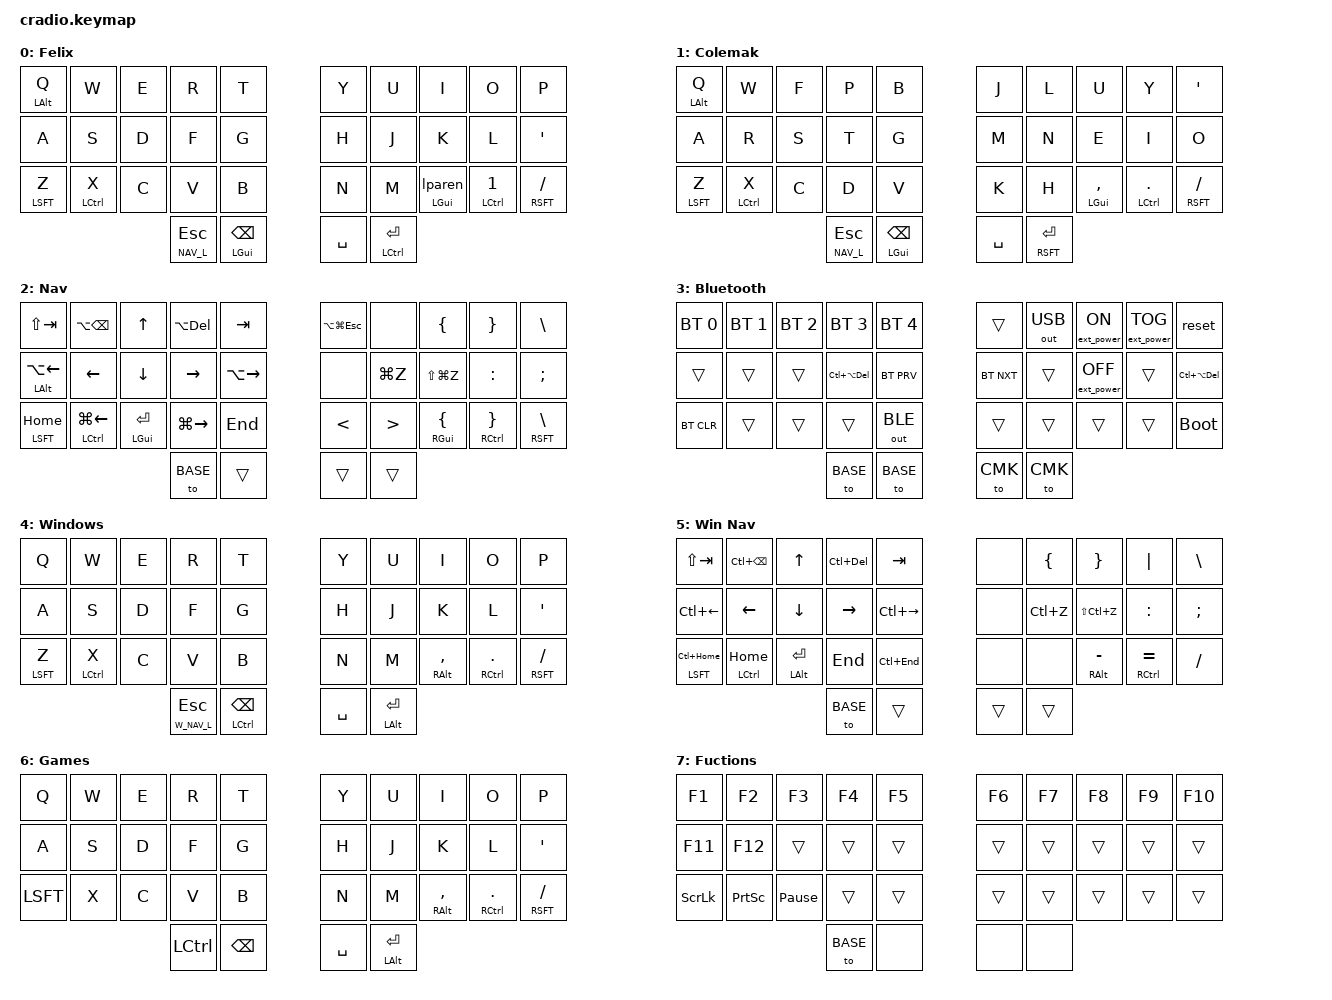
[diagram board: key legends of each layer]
/*
 * Copyright (c) 2020 The ZMK Contributors
 *
 * SPDX-License-Identifier: MIT
 */

#include <behaviors.dtsi>
#include <dt-bindings/zmk/keys.h>
#include <dt-bindings/zmk/bt.h>
#include <dt-bindings/zmk/outputs.h>
#include <dt-bindings/zmk/ext_power.h>

#define XXX &none
#define ___ &trans

#define SK(KEY) &nk KEY KEY
#define MO(LAYER) &mo_tap LAYER F24

// Keep sticky keys active for a long time so they effectively do not time out
#define STICKY_KEY_TIMEOUT 60000

#define BASE 0
#define CMK 1
#define NAV_L 2
#define BT_L 3
#define WIN_L 4
#define W_NAV_L 5
#define GAME 6
#define FUN_L 7

// #define NUM_L 4
// #define SYM_L 5
// #define MED_L 6
// #define MEH_L 8

//	0	1	2	3	4		5	6	7	8	9 
//	10	11	12	13	14		15	16	17	18	19
//	20	21	22	23	24		25	26	27	28	29
//				30	31		32	33
// 		>;

// Using layer taps on thumbs, having quick tap as well helps w/ repeating space/backspace
	&lt { quick_tap_ms = <200>; }; 
/ {

	combos {
		#include "combos.keymap"
	};

	behaviors {
	sh: shift {
		compatible = "zmk,behavior-hold-tap";
 		label = "shift mod";
 		#binding-cells = <2>;
 		tapping_term_ms = <150>;
 		flavor = "hold-preferred";
 		bindings = <&kp>, <&kp>;
	};
	hm: homerow_mods {
		compatible = "zmk,behavior-hold-tap";
		label = "homerow mods";
		#binding-cells = <2>;
		tapping_term_ms = <150>;
		flavor = "tap-preferred";
		bindings = <&kp>, <&kp>;
	};
	lp: lp_mod {
		compatible = "zmk,behavior-hold-tap";
		label = "lpmod";
		#binding-cells = <2>;
		tapping_term_ms = <150>;
		flavor = "tap-preferred";
		bindings = <&kp>, <&lparen>;
	};
	rp: rp_mod {
		compatible = "zmk,behavior-hold-tap";
		label = "rpmod";
		#binding-cells = <2>;
		tapping_term_ms = <150>;
		flavor = "tap-preferred";
		bindings = <&kp>, <&rparen>;
	};

	skq: sticky_key_quick_release {
		compatible = "zmk,behavior-sticky-key";
		label = "STICKY_KEY_QUICK_RELEASE";
		#binding-cells = <1>;
		bindings = <&kp>;
		quick-release;
		release-after-ms = <STICKY_KEY_TIMEOUT>;
	};
 lparen: l_paren {
		compatible = "zmk,behavior-mod-morph";
		label = "L_PAREN";
		#binding-cells = <0>;
		bindings = <&kp COMMA>, <&kp LPAR>;
		mods = <(MOD_LSFT|MOD_RSFT)>;
	};
	rparen: r_paren {
		compatible = "zmk,behavior-mod-morph";
		label = "R_PAREN";
		#binding-cells = <0>;
		bindings = <&kp DOT>, <&kp RPAR>;
		mods = <(MOD_LSFT|MOD_RSFT)>;
	};

};


keymap {
		compatible = "zmk,keymap";
	default_layer {
		label = "Felix";
		bindings = <
	&sh LALT Q	&kp W		&kp E		&kp R		&kp T				&kp Y		&kp U		&kp I		&kp O		&kp P
	&kp A		&kp S		&kp D		&kp F		&kp G				&kp H		&kp J		&kp K		&kp L		&kp QUOT
	&sh LSFT Z	&hm LCTRL X	&kp C		&kp V		&kp B				&kp N		&kp M		&lp LGUI 0	&rp LCTRL 1	&sh RSFT FSLH 
							&lt NAV_L ESC	&hm LGUI BSPC			&kp SPACE	&sh LCTRL RET			
	>;
	};		

	colemak {
		label = "Colemak";
		bindings = <
	&sh LALT Q	&kp W		&kp F		&kp P		&kp B				&kp J		&kp L		&kp U		&kp Y		&kp QUOT
	&kp A		&kp R		&kp S		&kp T		&kp G				&kp M		&kp N		&kp E		&kp I		&kp O
	&sh LSFT Z	&hm LCTRL X	&kp C		&kp D		&kp V				&kp K		&kp H		&hm LGUI COMMA	&hm LCTRL DOT	&sh RSFT FSLH 
							&lt NAV_L ESC	&hm LGUI BSPC			&kp SPACE	&sh RSFT RET			
	>;
	};		
	
	
	nav_layer {
		label = "Nav";
		bindings = <
	&kp LS(TAB) 	&kp LA(BSPC)		&kp UP		&kp LA(DEL) 	&kp TAB			&kp LA(LG(ESC))	&none		&kp LBRC	&kp RBRC 	&kp BSLH
	&sh LALT LA(LEFT)	&kp LEFT	&kp DOWN	&kp RIGHT	&kp LA(RIGHT)		&none		&kp LG(Z)	&kp LS(LG(Z))	&kp COLON	&kp SEMI 
	&sh LSFT HOME 	&hm LCTRL LG(LEFT)	&hm LGUI RET	&kp LG(RIGHT)	&kp END			&kp LT		&kp GT		&hm RGUI LBRC	&hm RCTRL RBRC	&sh RSFT BSLH 
								&to BASE	&trans			&trans		&trans				
		>;
	};

	bt_layer {
		label = "Bluetooth";
		bindings = <
	&bt BT_SEL 0	&bt BT_SEL 1	&bt BT_SEL 2	&bt BT_SEL 3	&bt BT_SEL 4	&trans		&out OUT_USB	&ext_power EP_ON	&ext_power EP_TOG	&reset	
	&trans		&trans		&trans		&kp LC(LA(DEL))	&bt BT_PRV	&bt BT_NXT	&trans		&ext_power EP_OFF	&trans			&kp LC(LA(DEL))
	&bt BT_CLR	&trans		&trans		&trans		&out OUT_BLE	&trans		&trans		&trans			&trans			&bootloader
							&to BASE	&to BASE			&to CMK	&to CMK				
		>;
	};

	windows_layer {
		label = "Windows";
		bindings = <
	&kp Q		&kp W		&kp E	&kp R		&kp T			&kp Y		&kp U		&kp I		&kp O		&kp P
	&kp A		&kp S		&kp D	&kp F		&kp G			&kp H		&kp J		&kp K		&kp L		&kp QUOT
	&sh LSFT Z	&hm LCTRL X	&kp C	&kp V		&kp B			&kp N		&kp M		&hm RALT COMMA	&hm RCTRL DOT	&sh RSFT FSLH
						&lt W_NAV_L ESC	&hm LCTRL BKSP		&kp SPACE	&sh LALT RET			
			>;

	};

	windows_nav_layer {
		label = "Win Nav";
		bindings = <
	&kp LS(TAB) 		&kp LC(BSPC)	&kp UP		&kp LC(DEL) 	&kp TAB			&none	&kp LBRC	&kp RBRC 	&kp PIPE	&kp BSLH
	&kp LC(LEFT)		&kp LEFT	&kp DOWN	&kp RIGHT	&kp LC(RIGHT)		&none	&kp LC(Z)	&kp LS(LC(Z))	&kp COLON	&kp SEMI 
	&sh LSFT LC(HOME)	&hm LCTRL HOME 	&hm LALT RET	&kp END		&kp LC(END)		&none	&none		&hm RALT MINUS	&hm RCTRL EQL	&kp FSLH 
								&to BASE	&trans			&trans	&trans				
		>;
	};

	games_layer {
	label = "Games";
		bindings = <
	&kp Q		&kp W		&kp E		&kp R		&kp T			&kp Y		&kp U		&kp I		&kp O		&kp P
	&kp A		&kp S		&kp D		&kp F		&kp G			&kp H		&kp J		&kp K		&kp L		&kp QUOT
	&kp LSFT	&kp X		&kp C		&kp V		&kp B			&kp N		&kp M		&hm RALT COMMA	&hm RCTRL DOT	&sh RSFT FSLH
							&kp LCTRL	&kp BKSP		&kp SPACE	&sh LALT RET			
	>;
	};

	
	fun_layer {
		label = "Fuctions";
		bindings = <
		&kp F1	&kp F2		&kp F3  	&kp F4	&kp F5	&kp F6	&kp F7	&kp F8	&kp F9	&kp F10		
		&kp F11	&kp F12		&trans		&trans	&trans	&trans	&trans	&trans	&trans	&trans
		&kp SLCK &kp PSCRN	&kp PAUSE_BREAK &trans	&trans	&trans	&trans	&trans	&trans	&trans
							&to BASE	&none	&none	&none	
		>;
	};
	
	};
};
